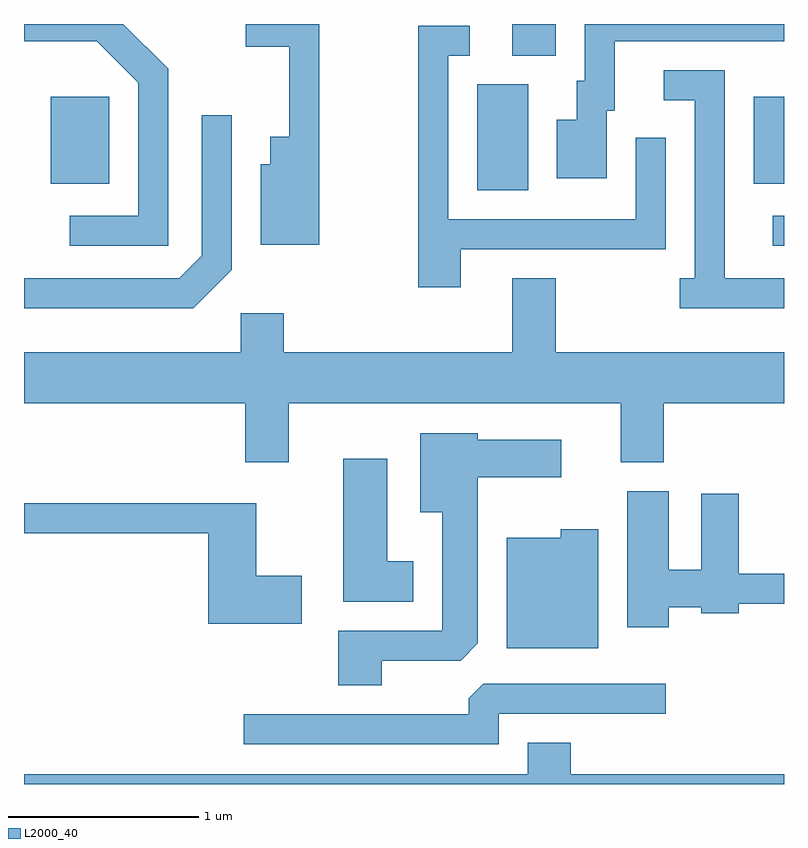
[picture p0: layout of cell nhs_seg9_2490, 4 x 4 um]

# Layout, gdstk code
import gdstk
lib = gdstk.Library(unit=1e-6, precision=1e-09)
def R(c, l, rs):  # rectangles x0, y0, x1, y1
    for r in rs: c.add(gdstk.rectangle(r[:2], r[2:], *l))
def P(c, l, *ps):  # polygons
    for p in ps: c.add(gdstk.Polygon(p, *l))
L2000_40 = (2000, 40)

nhs_seg9_2490 = lib.new_cell('nhs_seg9_2490')
R(nhs_seg9_2490, L2000_40, [(261.553,2039.266,261.611,2039.424), (259.996,2039.556,260.264,2040.114), (257.751,2039.591,258.059,2040.049), (261.451,2039.591,261.611,2040.049), (260.181,2040.266,260.409,2040.432)])
P(nhs_seg9_2490, L2000_40, [(259.164,2040.432),(258.778,2040.432),(258.778,2040.311),(259.006,2040.311),(259.006,2039.839),(258.906,2039.839),(258.906,2039.694),(258.856,2039.694),(258.856,2039.271),(259.164,2039.271)],
  [(258.369,2040.197),(258.134,2040.432),(257.611,2040.432),(257.611,2040.341),(257.993,2040.341),(258.211,2040.124),(258.211,2039.424),(257.853,2039.424),(257.853,2039.266),(258.369,2039.266)],
  [(260.679,2039.976),(260.719,2039.976),(260.719,2040.341),(261.611,2040.341),(261.611,2040.432),(260.561,2040.432),(260.561,2040.134),(260.521,2040.134),(260.521,2039.929),(260.416,2039.929),(260.416,2039.621),(260.679,2039.621)],
  [(259.909,2039.246),(260.989,2039.246),(260.989,2039.833),(260.831,2039.833),(260.831,2039.404),(259.844,2039.404),(259.844,2040.266),(259.957,2040.266),(259.957,2040.424),(259.686,2040.424),(259.686,2039.046),(259.909,2039.046)],
  [(261.611,2039.094),(261.299,2039.094),(261.299,2040.189),(260.978,2040.189),(260.978,2040.031),(261.141,2040.031),(261.141,2039.094),(261.063,2039.094),(261.063,2038.936),(261.611,2038.936)],
  [(258.704,2039.139),(258.704,2039.953),(258.546,2039.953),(258.546,2039.212),(258.429,2039.094),(257.611,2039.094),(257.611,2038.936),(258.502,2038.936)],
  [(259.004,2038.436),(260.751,2038.436),(260.751,2038.126),(260.979,2038.126),(260.979,2038.436),(261.611,2038.436),(261.611,2038.704),(260.409,2038.704),(260.409,2039.094),(260.181,2039.094),(260.181,2038.704),(258.979,2038.704),(258.979,2038.909),(258.751,2038.909),(258.751,2038.704),(257.611,2038.704),(257.611,2038.436),(258.776,2038.436),(258.776,2038.126),(259.004,2038.126)],
  [(259.494,2037.081),(259.909,2037.081),(259.999,2037.172),(259.999,2038.046),(260.439,2038.046),(260.439,2038.244),(259.999,2038.244),(259.999,2038.279),(259.696,2038.279),(259.696,2037.861),(259.811,2037.861),(259.811,2037.239),(259.266,2037.239),(259.266,2036.951),(259.494,2036.951)],
  [(259.659,2037.604),(259.524,2037.604),(259.524,2038.144),(259.291,2038.144),(259.291,2037.391),(259.659,2037.391)],
  [(261.004,2037.361),(261.176,2037.361),(261.176,2037.331),(261.374,2037.331),(261.374,2037.381),(261.611,2037.381),(261.611,2037.539),(261.374,2037.539),(261.374,2037.959),(261.176,2037.959),(261.176,2037.559),(261.004,2037.559),(261.004,2037.974),(260.786,2037.974),(260.786,2037.256),(261.004,2037.256)],
  [(259.074,2037.529),(258.834,2037.529),(258.834,2037.909),(257.611,2037.909),(257.611,2037.751),(258.581,2037.751),(258.581,2037.276),(259.074,2037.276)],
  [(260.634,2037.774),(260.436,2037.774),(260.436,2037.729),(260.151,2037.729),(260.151,2037.146),(260.634,2037.146)],
  [(260.109,2036.801),(260.988,2036.801),(260.988,2036.959),(260.027,2036.959),(259.951,2036.884),(259.951,2036.799),(258.767,2036.799),(258.767,2036.641),(260.109,2036.641)],
  [(261.611,2036.484),(260.489,2036.484),(260.489,2036.649),(260.261,2036.649),(260.261,2036.484),(257.611,2036.484),(257.611,2036.432),(261.611,2036.432)])

lib.write_gds('nhs_seg9_2490.gds')
